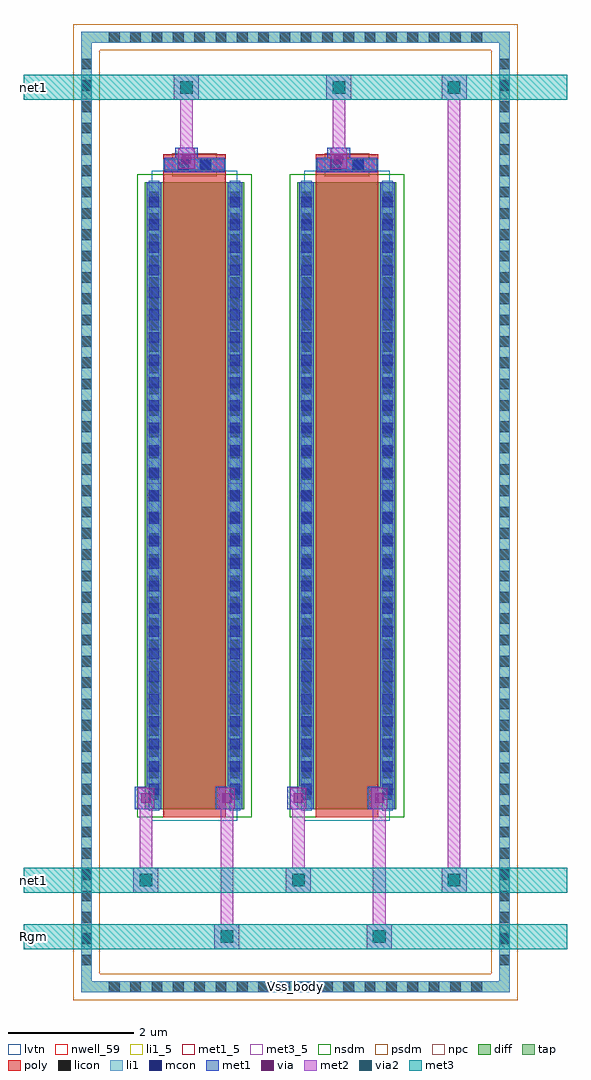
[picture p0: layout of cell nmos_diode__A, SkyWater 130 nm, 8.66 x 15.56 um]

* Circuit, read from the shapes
.subckt nmos_diode__A Rgm Vss_body net1
XM1 Rgm net1 net1 Vss_body sky130_fd_pr__nfet_01v8_lvt w=10 l=1 m=2
.ends

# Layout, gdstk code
import gdstk
lib = gdstk.Library(unit=1e-6, precision=1e-09)
def R(c, l, rs):  # rectangles x0, y0, x1, y1
    for r in rs: c.add(gdstk.rectangle(r[:2], r[2:], *l))
def A(c, l, x, y, w, h, nx, ny, dx, dy):  # array of equal rectangles
    R(c, l, [(x+i*dx, y+j*dy, x+i*dx+w, y+j*dy+h) for i in range(nx) for j in range(ny)])
nwell_59 = (64, 59)
diff = (65, 20)
tap = (65, 44)
poly = (66, 20)
licon = (66, 44)
li1_5 = (67, 5)
li1 = (67, 20)
mcon = (67, 44)
met1_5 = (68, 5)
met1 = (68, 20)
via = (68, 44)
met2 = (69, 20)
via2 = (69, 44)
met3_5 = (70, 5)
met3 = (70, 20)
nsdm = (93, 44)
psdm = (94, 20)
npc = (95, 20)
lvtn = (125, 44)

sky130_fd_pr__nfet_01v8_ = lib.new_cell('sky130_fd_pr__nfet_01v8_lvt_788GJP')
R(sky130_fd_pr__nfet_01v8_, diff, [(-0.79,-5.155,0.79,4.845)])
R(sky130_fd_pr__nfet_01v8_, poly, [(-0.5,-5.285,0.5,5.285)])
A(sky130_fd_pr__nfet_01v8_, licon, -0.73, -5, 0.17, 0.17, 1, 29, 0, 0.34)
A(sky130_fd_pr__nfet_01v8_, licon, 0.56, -5, 0.17, 0.17, 1, 29, 0, 0.34)
R(sky130_fd_pr__nfet_01v8_, licon, [(-0.255,5.035,-0.085,5.205), (0.085,5.035,0.255,5.205)])
R(sky130_fd_pr__nfet_01v8_, li1, [(-0.73,-5.175,-0.56,4.865), (0.56,-5.175,0.73,4.865), (-0.5,5.035,0.5,5.205)])
A(sky130_fd_pr__nfet_01v8_, mcon, -0.73, -4.92, 0.17, 0.17, 1, 27, 0, 0.36)
A(sky130_fd_pr__nfet_01v8_, mcon, 0.56, -4.92, 0.17, 0.17, 1, 27, 0, 0.36)
R(sky130_fd_pr__nfet_01v8_, mcon, [(-0.265,5.035,-0.095,5.205), (0.095,5.035,0.265,5.205)])
R(sky130_fd_pr__nfet_01v8_, met1, [(-0.76,-5.155,-0.53,4.845), (0.53,-5.155,0.76,4.845), (-0.48,5.005,0.48,5.235)])
R(sky130_fd_pr__nfet_01v8_, nsdm, [(-0.915,-5.28,0.915,4.97)])
R(sky130_fd_pr__nfet_01v8_, npc, [(-0.355,4.935,0.355,5.305)])
R(sky130_fd_pr__nfet_01v8_, lvtn, [(-0.68,-5.335,0.68,5.025)])
sky130_fd_pr__nfet_01v8_.add(gdstk.Label('D', (-0.645,-0.155), layer=67, texttype=5))
sky130_fd_pr__nfet_01v8_.add(gdstk.Label('S', (0.645,-0.155), layer=67, texttype=5))
sky130_fd_pr__nfet_01v8_.add(gdstk.Label('G', (0,5.12), layer=67, texttype=5))

nfet_01v8_lvt_w10_l1_m2_ = lib.new_cell('nfet_01v8_lvt_W10_L1_m2__nf1_gtop_sdfull_ng')
R(nfet_01v8_lvt_w10_l1_m2_, nwell_59, [(0.05,5.08,0.15,5.18)])
R(nfet_01v8_lvt_w10_l1_m2_, met1_5, [(0.03,5.13,0.26,5.33), (1.32,5.13,1.55,5.33), (0.31,10.29,1.27,10.52)])
R(nfet_01v8_lvt_w10_l1_m2_, met1, [(0.03,5.13,0.26,5.33), (1.32,5.13,1.55,5.33), (0.31,10.29,1.27,10.52)])
nfet_01v8_lvt_w10_l1_m2_.add(gdstk.Reference(sky130_fd_pr__nfet_01v8_, (0.79,5.285)))
nfet_01v8_lvt_w10_l1_m2_.add(gdstk.Label('D', (0.145,5.23), layer=68, texttype=5))
nfet_01v8_lvt_w10_l1_m2_.add(gdstk.Label('S', (1.435,5.23), layer=68, texttype=5))
nfet_01v8_lvt_w10_l1_m2_.add(gdstk.Label('G', (0.79,10.405), layer=68, texttype=5))
nfet_01v8_lvt_w10_l1_m2_.add(gdstk.Label('B', (0.1,5.13), layer=64, texttype=59))

nmos_diode__a = lib.new_cell('nmos_diode__A')
R(nmos_diode__a, tap, [(-0.885,-2.785,5.945,-2.615), (-0.885,-2.615,-0.715,12.355), (5.775,-2.615,5.945,12.355), (-0.885,12.355,5.945,12.525)])
A(nmos_diode__a, licon, -0.445, -2.785, 0.17, 0.17, 18, 2, 0.34, 15.14)
A(nmos_diode__a, licon, -0.885, -2.355, 0.17, 0.17, 1, 43, 0, 0.34)
A(nmos_diode__a, licon, 5.775, -2.355, 0.17, 0.17, 1, 43, 0, 0.34)
R(nmos_diode__a, li1_5, [(2.48,-2.75,2.58,-2.65)])
R(nmos_diode__a, li1, [(-0.885,-2.785,5.945,-2.615), (-0.885,-2.615,-0.715,12.355), (5.775,-2.615,5.945,12.355), (-0.885,12.355,5.945,12.525)])
R(nmos_diode__a, met1, [(-0.035,0.13,0.325,0.49), (1.255,0.13,1.615,0.49), (2.395,0.13,2.755,0.49), (3.685,0.13,4.045,0.49), (0.61,10.32,0.97,10.68), (3.04,10.32,3.4,10.68)])
R(nmos_diode__a, via, [(0.07,0.235,0.22,0.385), (1.36,0.235,1.51,0.385), (2.5,0.235,2.65,0.385), (3.79,0.235,3.94,0.385), (0.715,10.425,0.865,10.575), (3.145,10.425,3.295,10.575)])
R(nmos_diode__a, met2, [(1.235,-2.1,1.635,-1.7), (3.665,-2.1,4.065,-1.7), (1.335,-1.7,1.535,0.15), (3.765,-1.7,3.965,0.15), (-0.055,-1.2,0.345,-0.8), (2.375,-1.2,2.775,-0.8), (4.86,-1.2,5.26,-0.8), (0.045,-0.8,0.245,0.15), (2.475,-0.8,2.675,0.15), (4.96,-0.8,5.16,11.44), (0.015,0.15,0.275,0.47), (1.305,0.15,1.565,0.47), (2.445,0.15,2.705,0.47), (3.735,0.15,3.995,0.47), (0.66,10.34,0.92,10.66), (3.09,10.34,3.35,10.66), (0.69,10.66,0.89,11.44), (3.12,10.66,3.32,11.44), (0.59,11.44,0.99,11.84), (3.02,11.44,3.42,11.84), (4.86,11.44,5.26,11.84)])
R(nmos_diode__a, via2, [(1.335,-2,1.535,-1.8), (3.765,-2,3.965,-1.8), (0.045,-1.1,0.245,-0.9), (2.475,-1.1,2.675,-0.9), (4.96,-1.1,5.16,-0.9), (0.69,11.54,0.89,11.74), (3.12,11.54,3.32,11.74), (4.96,11.54,5.16,11.74)])
R(nmos_diode__a, met3_5, [(-1.7,-1.95,-1.6,-1.85), (-1.7,-1.05,-1.6,-0.95), (-1.7,11.59,-1.6,11.69)])
R(nmos_diode__a, met3, [(-1.8,-2.1,6.86,-1.7), (-1.8,-1.2,6.86,-0.8), (-1.8,11.44,6.86,11.84)])
R(nmos_diode__a, psdm, [(-1.01,-2.91,6.07,-2.49), (-1.01,-2.49,-0.59,12.23), (5.65,-2.49,6.07,12.23), (-1.01,12.23,6.07,12.65)])
nmos_diode__a.add(gdstk.Reference(nfet_01v8_lvt_w10_l1_m2_, (2.56,0)))
nmos_diode__a.add(gdstk.Reference(nfet_01v8_lvt_w10_l1_m2_, (0.13,0)))
nmos_diode__a.add(gdstk.Label('net1', (-1.65,11.64), layer=70, texttype=5))
nmos_diode__a.add(gdstk.Label('net1', (-1.65,-1), layer=70, texttype=5))
nmos_diode__a.add(gdstk.Label('Rgm', (-1.65,-1.9), layer=70, texttype=5))
nmos_diode__a.add(gdstk.Label('Vss_body', (2.53,-2.7), layer=67, texttype=5))

lib.write_gds('nmos_diode__A.gds')
